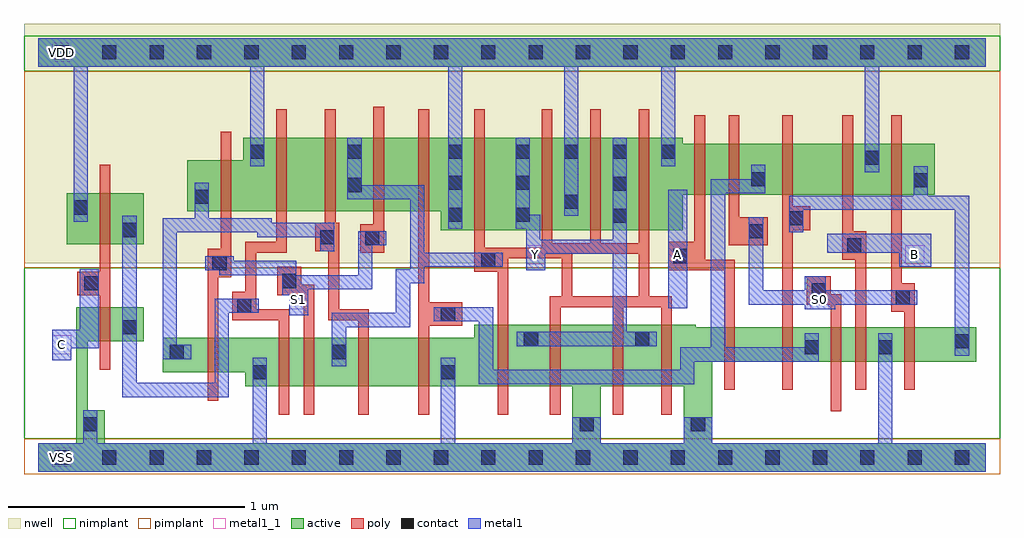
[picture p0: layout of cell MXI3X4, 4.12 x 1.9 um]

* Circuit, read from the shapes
.subckt MXI3X4 A B C S0 S1 VDD VSS Y
M1 n1 C VSS VSS nfet w=0.145u l=0.045u
M2 VSS S1 n2 VSS nfet w=0.145u l=0.045u
M3 n3 n1 VSS VSS nfet w=0.205u l=0.045u
M4 n4 S1 n3 VSS nfet w=0.205u l=0.045u
M5 n5 n2 n4 VSS nfet w=0.205u l=0.045u
M6 VSS n6 n5 VSS nfet w=0.205u l=0.045u
M7 Y n4 VSS VSS nfet w=0.26u l=0.045u m=4
M8 n7 A VSS VSS nfet w=0.145u l=0.045u
M9 n6 n8 n7 VSS nfet w=0.145u l=0.045u
M10 n9 S0 n6 VSS nfet w=0.145u l=0.045u
M11 VSS B n9 VSS nfet w=0.145u l=0.045u
M12 n8 S0 VSS VSS nfet w=0.145u l=0.045u
M13 n1 C VDD VDD pfet w=0.215u l=0.045u
M14 VDD S1 n2 VDD pfet w=0.215u l=0.045u
M15 n10 n1 VDD VDD pfet w=0.31u l=0.045u
M16 n4 n2 n10 VDD pfet w=0.31u l=0.045u
M17 n11 S1 n4 VDD pfet w=0.31u l=0.045u
M18 VDD n6 n11 VDD pfet w=0.31u l=0.045u
M19 Y n4 VDD VDD pfet w=0.39u l=0.045u m=4
M20 n12 A VDD VDD pfet w=0.215u l=0.045u
M21 n6 S0 n12 VDD pfet w=0.215u l=0.045u
M22 n13 n8 n6 VDD pfet w=0.215u l=0.045u
M23 VDD B n13 VDD pfet w=0.215u l=0.045u
M24 n8 S0 VDD VDD pfet w=0.215u l=0.045u
.ends

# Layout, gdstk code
import gdstk
lib = gdstk.Library(unit=1e-6, precision=5e-10)
def R(c, l, rs):  # rectangles x0, y0, x1, y1
    for r in rs: c.add(gdstk.rectangle(r[:2], r[2:], *l))
def A(c, l, x, y, w, h, nx, ny, dx, dy):  # array of equal rectangles
    R(c, l, [(x+i*dx, y+j*dy, x+i*dx+w, y+j*dy+h) for i in range(nx) for j in range(ny)])
def P(c, l, *ps):  # polygons
    for p in ps: c.add(gdstk.Polygon(p, *l))
active = (1, 0)
nwell = (2, 0)
poly = (3, 0)
nimplant = (4, 0)
pimplant = (5, 0)
contact = (6, 0)
metal1 = (7, 0)
metal1_1 = (7, 1)

mxi3x4 = lib.new_cell('MXI3X4')
R(mxi3x4, active, [(0.12,0.9,0.445,1.115), (0,1.65,4,1.77)])
P(mxi3x4, active, [(0.865,1.35),(2.72,1.35),(2.72,1.325),(3.785,1.325),(3.785,1.11),(2.72,1.11),(2.72,0.96),(1.7,0.96),(1.7,1.04),(0.63,1.04),(0.63,1.255),(0.865,1.255)],
  [(0.16,0.635),(0.445,0.635),(0.445,0.49),(0.21,0.49),(0.21,0.2),(0.28,0.2),(0.28,0.06),(2.255,0.06),(2.255,0.3),(2.375,0.3),(2.375,0.06),(2.725,0.06),(2.725,0.3),(0.875,0.3),(0.875,0.36),(0.525,0.36),(0.525,0.505),(1.84,0.505),(1.84,0.56),(2.775,0.56),(2.775,0.55),(3.96,0.55),(3.96,0.405),(2.845,0.405),(2.845,0.06),(4,0.06),(4,-0.06),(0,-0.06),(0,0.06),(0.16,0.06)])
R(mxi3x4, nwell, [(-0.06,0.82,4.06,1.83)])
P(mxi3x4, poly, [(0.77,1.375),(0.815,1.375),(0.815,0.76),(0.76,0.76),(0.76,0.24),(0.715,0.24),(0.715,0.88),(0.77,0.88)],
  [(1.005,1.47),(1.05,1.47),(1.05,0.865),(0.92,0.865),(0.92,0.625),(1.06,0.625),(1.06,0.18),(1.015,0.18),(1.015,0.58),(0.82,0.58),(0.82,0.7),(0.875,0.7),(0.875,0.91),(1.005,0.91)],
  [(1.21,1.47),(1.255,1.47),(1.255,0.99),(1.27,0.99),(1.27,0.625),(1.395,0.625),(1.395,0.18),(1.35,0.18),(1.35,0.58),(1.225,0.58),(1.225,0.87),(1.17,0.87),(1.17,0.99),(1.21,0.99)],
  [(1.415,1.48),(1.46,1.48),(1.46,0.865),(1.36,0.865),(1.36,0.985),(1.415,0.985)],
  [(1.605,1.47),(1.65,1.47),(1.65,0.655),(1.79,0.655),(1.79,0.555),(1.65,0.555),(1.65,0.18),(1.605,0.18)],
  [(1.84,1.47),(1.885,1.47),(1.885,0.885),(2.125,0.885),(2.125,1.47),(2.17,1.47),(2.17,0.905),(2.33,0.905),(2.33,1.47),(2.375,1.47),(2.375,0.905),(2.535,0.905),(2.535,1.47),(2.58,1.47),(2.58,0.68),(2.675,0.68),(2.675,0.18),(2.63,0.18),(2.63,0.635),(2.47,0.635),(2.47,0.18),(2.425,0.18),(2.425,0.635),(2.205,0.635),(2.205,0.18),(2.16,0.18),(2.16,0.68),(2.21,0.68),(2.21,0.84),(1.985,0.84),(1.985,0.18),(1.94,0.18),(1.94,0.785),(1.84,0.785),(1.84,0.86),(2.255,0.86),(2.255,0.68),(2.535,0.68),(2.535,0.86),(1.84,0.86)],
  [(0.26,1.235),(0.305,1.235),(0.305,0.37),(0.26,0.37),(0.26,0.685),(0.165,0.685),(0.165,0.785),(0.26,0.785)],
  [(1.01,0.805),(1.11,0.805),(1.11,0.73),(1.165,0.73),(1.165,0.18),(1.12,0.18),(1.12,0.685),(1.01,0.685)],
  [(2.77,1.445),(2.815,1.445),(2.815,0.835),(2.94,0.835),(2.94,0.285),(2.895,0.285),(2.895,0.79),(2.66,0.79),(2.66,0.91),(2.77,0.91)],
  [(2.915,1.445),(2.96,1.445),(2.96,1.015),(3.08,1.015),(3.08,0.895),(2.915,0.895)],
  [(3.14,1.445),(3.185,1.445),(3.185,1.06),(3.26,1.06),(3.26,0.96),(3.185,0.96),(3.185,0.285),(3.14,0.285)],
  [(3.395,1.445),(3.44,1.445),(3.44,0.955),(3.495,0.955),(3.495,0.285),(3.45,0.285),(3.45,0.835),(3.395,0.835)],
  [(3.6,1.445),(3.645,1.445),(3.645,0.735),(3.7,0.735),(3.7,0.285),(3.655,0.285),(3.655,0.615),(3.6,0.615)],
  [(3.245,0.765),(3.345,0.765),(3.345,0.69),(3.39,0.69),(3.39,0.195),(3.345,0.195),(3.345,0.645),(3.245,0.645)])
R(mxi3x4, nimplant, [(-0.06,0.08,4.06,0.8), (-0.06,1.63,4.06,1.78)])
R(mxi3x4, pimplant, [(-0.06,-0.07,4.06,0.08), (-0.06,0.8,4.06,1.63)])
A(mxi3x4, contact, 0.07, -0.03, 0.06, 0.06, 20, 2, 0.2, 1.71)
A(mxi3x4, contact, 2.015, 1.26, 0.06, 0.06, 4, 1, 0.205, 0)
R(mxi3x4, contact, [(0.19,0.11,0.25,0.17), (2.285,0.11,2.345,0.17), (2.755,0.11,2.815,0.17), (0.905,0.33,0.965,0.39), (1.7,0.33,1.76,0.39), (0.555,0.415,0.615,0.475), (1.24,0.415,1.3,0.475), (3.235,0.435,3.295,0.495), (3.545,0.435,3.605,0.495), (3.87,0.46,3.93,0.52), (2.05,0.47,2.11,0.53), (2.52,0.47,2.58,0.53), (0.355,0.52,0.415,0.58), (1.7,0.575,1.76,0.635), (0.84,0.61,0.9,0.67), (3.62,0.645,3.68,0.705), (3.265,0.675,3.325,0.735), (0.195,0.705,0.255,0.765), (1.03,0.715,1.09,0.775), (0.735,0.79,0.795,0.85), (1.87,0.805,1.93,0.865), (2.68,0.82,2.74,0.88), (3.415,0.865,3.475,0.925), (1.38,0.895,1.44,0.955), (1.19,0.9,1.25,0.96), (3,0.925,3.06,0.985), (0.355,0.93,0.415,0.99), (3.17,0.98,3.23,1.04), (2.425,0.99,2.485,1.05), (1.73,0.995,1.79,1.055), (2.015,0.995,2.075,1.055), (0.15,1.025,0.21,1.085), (2.22,1.05,2.28,1.11), (0.66,1.07,0.72,1.13), (1.305,1.12,1.365,1.18), (2.425,1.125,2.485,1.185), (1.73,1.13,1.79,1.19), (2.015,1.13,2.075,1.19), (3.695,1.14,3.755,1.2), (3.01,1.145,3.07,1.205), (3.49,1.235,3.55,1.295), (0.895,1.26,0.955,1.32), (1.305,1.26,1.365,1.32), (1.73,1.26,1.79,1.32)])
R(mxi3x4, metal1, [(2.66,0.63,2.74,1.13)])
P(mxi3x4, metal1, [(0,1.77),(4,1.77),(4,1.65),(3.55,1.65),(3.55,1.205),(3.49,1.205),(3.49,1.65),(2.69,1.65),(2.69,1.23),(2.63,1.23),(2.63,1.65),(2.28,1.65),(2.28,1.02),(2.22,1.02),(2.22,1.65),(1.79,1.65),(1.79,0.965),(1.73,0.965),(1.73,1.65),(0.955,1.65),(0.955,1.23),(0.895,1.23),(0.895,1.65),(0.21,1.65),(0.21,0.995),(0.15,0.995),(0.15,1.65),(0,1.65)],
  [(0.66,1.16),(0.72,1.16),(0.72,1.01),(0.985,1.01),(0.985,0.99),(1.25,0.99),(1.25,0.87),(1.19,0.87),(1.19,0.93),(0.925,0.93),(0.925,0.95),(0.585,0.95),(0.585,0.475),(0.645,0.475),(0.645,0.415),(0.525,0.415),(0.525,1.01),(0.66,1.01)],
  [(1.305,1.35),(1.365,1.35),(1.365,1.15),(1.63,1.15),(1.63,0.865),(1.96,0.865),(1.96,0.805),(1.63,0.805),(1.63,0.735),(1.57,0.735),(1.57,0.55),(1.3,0.55),(1.3,0.385),(1.24,0.385),(1.24,0.61),(1.51,0.61),(1.51,0.795),(1.57,0.795),(1.57,1.09),(1.305,1.09)],
  [(0.355,1.02),(0.415,1.02),(0.415,0.315),(0.745,0.315),(0.745,0.67),(0.93,0.67),(0.93,0.61),(0.805,0.61),(0.805,0.255),(0.355,0.255)],
  [(0.175,0.795),(0.255,0.795),(0.255,0.46),(0.14,0.46),(0.14,0.41),(0.06,0.41),(0.06,0.54),(0.175,0.54)],
  [(1.35,0.955),(1.47,0.955),(1.47,0.895),(1.41,0.895),(1.41,0.71),(1.14,0.71),(1.14,0.6),(1.06,0.6),(1.06,0.685),(1.03,0.685),(1.03,0.77),(0.765,0.77),(0.765,0.79),(0.705,0.79),(0.705,0.85),(0.825,0.85),(0.825,0.83),(1.09,0.83),(1.09,0.77),(1.35,0.77)],
  [(2.015,1.35),(2.075,1.35),(2.075,1.025),(2.12,1.025),(2.12,0.92),(2.425,0.92),(2.425,1.35),(2.485,1.35),(2.485,0.53),(2.61,0.53),(2.61,0.47),(2.02,0.47),(2.02,0.53),(2.425,0.53),(2.425,0.86),(2.14,0.86),(2.14,0.79),(2.06,0.79),(2.06,0.965),(2.015,0.965)],
  [(3.01,1.235),(3.07,1.235),(3.07,1.115),(2.9,1.115),(2.9,0.465),(3.235,0.465),(3.235,0.525),(3.295,0.525),(3.295,0.405),(2.77,0.405),(2.77,0.31),(1.86,0.31),(1.86,0.575),(1.67,0.575),(1.67,0.635),(1.92,0.635),(1.92,0.37),(2.71,0.37),(2.71,0.465),(2.84,0.465),(2.84,1.175),(3.01,1.175)],
  [(3.695,1.23),(3.755,1.23),(3.755,1.105),(3.93,1.105),(3.93,0.43),(3.87,0.43),(3.87,1.045),(3.23,1.045),(3.23,0.95),(3.17,0.95),(3.17,1.105),(3.695,1.105)],
  [(0.19,0.2),(0.25,0.2),(0.25,0.06),(0.905,0.06),(0.905,0.42),(0.965,0.42),(0.965,0.06),(1.7,0.06),(1.7,0.42),(1.76,0.42),(1.76,0.06),(2.255,0.06),(2.255,0.17),(2.375,0.17),(2.375,0.06),(2.725,0.06),(2.725,0.17),(2.845,0.17),(2.845,0.06),(3.545,0.06),(3.545,0.525),(3.605,0.525),(3.605,0.06),(4,0.06),(4,-0.06),(0,-0.06),(0,0.06),(0.19,0.06)],
  [(3,1.015),(3.06,1.015),(3.06,0.705),(3.235,0.705),(3.235,0.765),(3.325,0.765),(3.325,0.705),(3.71,0.705),(3.71,0.645),(3.365,0.645),(3.365,0.625),(3.235,0.625),(3.235,0.645),(3,0.645)],
  [(3.33,0.945),(3.77,0.945),(3.77,0.805),(3.635,0.805),(3.635,0.865),(3.33,0.865)])
R(mxi3x4, metal1_1, [(0.06,-0.04,0.14,0.04), (0.06,0.435,0.14,0.515), (1.06,0.625,1.14,0.705), (3.26,0.625,3.34,0.705), (2.06,0.815,2.14,0.895), (2.66,0.815,2.74,0.895), (3.66,0.815,3.74,0.895), (0.06,1.67,0.14,1.75)])
mxi3x4.add(gdstk.Label('Y', (2.1,0.855), layer=7, texttype=1))
mxi3x4.add(gdstk.Label('S0', (3.3,0.665), layer=7, texttype=1))
mxi3x4.add(gdstk.Label('B', (3.7,0.855), layer=7, texttype=1))
mxi3x4.add(gdstk.Label('A', (2.7,0.855), layer=7, texttype=1))
mxi3x4.add(gdstk.Label('S1', (1.1,0.665), layer=7, texttype=1))
mxi3x4.add(gdstk.Label('C', (0.1,0.475), layer=7, texttype=1))
mxi3x4.add(gdstk.Label('VDD', (0.1,1.71), layer=7, texttype=1))
mxi3x4.add(gdstk.Label('VSS', (0.1,0), layer=7, texttype=1))
mxi3x4.add(gdstk.Label('MXI3X4', (0,0), layer=63, texttype=0))

lib.write_gds('MXI3X4.gds')
